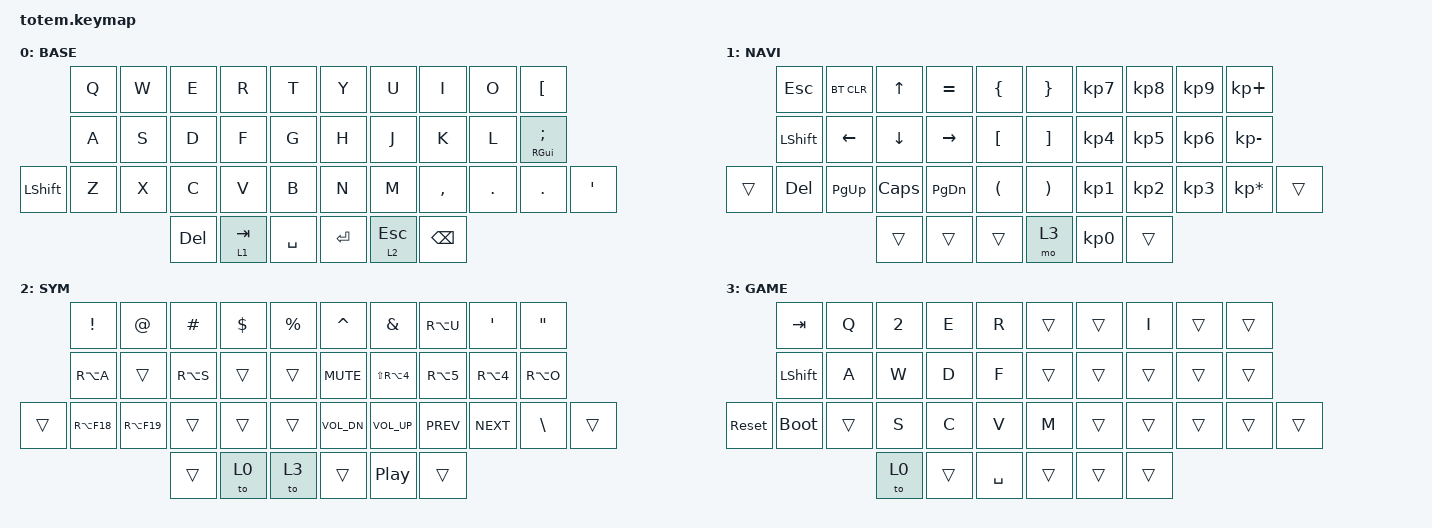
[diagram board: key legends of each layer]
//
//                                                        ▀▀▀▀▀     ▀▀▀▀▀          ▀▀█▀▀
//                                                        ▄▀▀▀▄  ▄  ▄▀▀▀▄  ▄  ▄▀▀▀▄  █  ▄▀▀▀▄
//                                                        █   █  █  █   █  █  █   █  █  █   █
//                                                         ▀▀▀   █   ▀▀▀   █   ▀▀▀   ▀   ▀▀▀
//                                                               █      ▄▄▄█▄▄▄    █   █  
//                                                               ▀      █  █  █     █▄█
//                                                             ▀▀▀▀▀    █  █  █      ▀
//                                                                      ▀  ▀  ▀
//
// ▄▄▄▄▄▄▄▄▄▄▄▄▄▄▄▄▄▄▄▄▄▄▄▄▄▄▄▄▄▄▄▄▄▄▄▄▄▄▄▄▄▄▄▄▄▄▄▄▄▄▄▄▄▄▄▄▄▄▄▄▄▄▄▄▄▄▄▄▄▄▄▄▄▄▄▄▄▄▄▄▄▄▄▄▄▄▄▄▄▄▄▄▄▄▄▄▄▄▄▄▄▄▄▄▄▄▄▄▄▄▄▄▄▄▄▄▄▄▄▄▄▄▄▄▄▄▄▄▄▄▄▄▄▄▄▄▄▄▄▄▄▄▄▄▄▄▄▄▄

#include <behaviors.dtsi>
#include <dt-bindings/zmk/bt.h>
#include <dt-bindings/zmk/keys.h>

#define BASE 0
#define NAV  1
#define SYM  2
#define ADJ  3
#define TVP1 4
#define TVP2 5

&mt {
    quick-tap-ms = <100>;
    global-quick-tap;
    flavor = "tap-preferred";
    tapping-term-ms = <170>;
};

/ {
    combos {
        compatible = "zmk,combos";

        combo_esc {
            timeout-ms = <50>;
            key-positions = <0 1>;
            bindings = <&kp ESC>;
        };

        combo_tvp {
            timeout-ms = <100>;
            key-positions = <11 12 13>;
            bindings = <&tog 0>;
        };
    };

    macros {
        gif: gif {
            label = "giphy";
            compatible = "zmk,behavior-macro";
            #binding-cells = <0>;
            bindings =
                <&macro_press>,
                <&kp LSHFT>,
                <&macro_tap>,
                <&kp N2>,
                <&macro_release>,
                <&kp LSHFT>,
                <&macro_tap>,
                <&kp G &kp I &kp F>;
        };
    };

    keymap {
        compatible = "zmk,keymap";

        // ▄▄▄▄▄▄▄▄▄▄▄▄▄▄▄▄▄▄▄▄▄▄▄▄▄▄▄▄▄▄▄▄▄▄▄▄▄▄▄▄▄▄▄▄▄▄▄▄▄▄▄▄▄▄▄▄▄▄▄▄▄▄▄▄▄▄▄▄▄▄▄▄▄▄▄▄▄▄▄▄▄▄▄▄▄▄▄▄▄▄▄▄▄▄▄▄▄▄▄▄▄▄▄▄▄▄▄▄▄▄▄▄▄▄▄▄▄▄▄▄▄▄▄▄▄▄▄▄▄▄▄▄▄▄▄▄▄▄▄▄▄▄▄▄▄▄▄▄▄

        BASE_LAYER {
            // ┏━━━━━━━━━━━━━━━━━━━━━━━━━━━━━━━━━━━━━━━┓

            label = "BASE";

            // ┗━━━━━━━━━━━━━━━━━━━━━━━━━━━━━━━━━━━━━━━┛
            //             ┏━━━━━━━━━━━┳━━━━━━━━━━━┳━━━━━━━━━━━┳━━━━━━━━━━━┳━━━━━━━━━━━┓   ┏━━━━━━━━━━━┳━━━━━━━━━━━┳━━━━━━━━━━━┳━━━━━━━━━━━┳━━━━━━━━━━━┓
            //             ┃     Q     ┃     W     ┃     F     ┃     P     ┃     G     ┃   ┃     J     ┃     L     ┃     U     ┃     Y     ┃     ;     ┃
            //             ┣━━━━━━━━━━━╋━━━━━━━━━━━╋━━━━━━━━━━━╋━━━━━━━━━━━╋━━━━━━━━━━━┫   ┣━━━━━━━━━━━╋━━━━━━━━━━━╋━━━━━━━━━━━╋━━━━━━━━━━━╋━━━━━━━━━━━┫
            //             ┃     A     ┃     R     ┃     S     ┃     T     ┃     D     ┃   ┃     H     ┃     N     ┃     E     ┃     I     ┃     O     ┃
            // ┏━━━━━━━━━━━╋━━━━━━━━━━━╋━━━━━━━━━━━╋━━━━━━━━━━━╋━━━━━━━━━━━╋━━━━━━━━━━━┫   ┣━━━━━━━━━━━╋━━━━━━━━━━━╋━━━━━━━━━━━╋━━━━━━━━━━━╋━━━━━━━━━━━╋━━━━━━━━━━━┓
            // ┃     Q     ┃     Z     ┃     X     ┃     C     ┃     V     ┃     B     ┃   ┃     K     ┃     M     ┃     ,     ┃     .     ┃     /     ┃     \     ┃
            // ┗━━━━━━━━━━━┻━━━━━━━━━━━┻━━━━━━━━━━━╋━━━━━━━━━━━╋━━━━━━━━━━━╋━━━━━━━━━━━┫   ┣━━━━━━━━━━━╋━━━━━━━━━━━╋━━━━━━━━━━━╋━━━━━━━━━━━┻━━━━━━━━━━━┻━━━━━━━━━━━┛
            //                                     ┃    DEL    ┃    TAB    ┃    SPC    ┃   ┃   ENTER   ┃           ┃   BSPC    ┃
            //                                     ┗━━━━━━━━━━━┻━━━━━━━━━━━┻━━━━━━━━━━━┛   ┗━━━━━━━━━━━┻━━━━━━━━━━━┻━━━━━━━━━━━┛

            bindings = <
                &kp Q  &kp W  &kp E    &kp R      &kp T        &kp Y    &kp U      &kp I      &kp O    &kp LEFT_BRACKET
                &kp A  &kp S  &kp D    &kp F      &kp G        &kp H    &kp J      &kp K      &kp L    &mt RGUI SEMICOLON
&kp LEFT_SHIFT  &kp Z  &kp X  &kp C    &kp V      &kp B        &kp N    &kp M      &kp COMMA  &kp DOT  &kp PERIOD          &kp SQT
                              &kp DEL  &lt 1 TAB  &kp SPACE    &kp RET  &lt 2 ESC  &kp BSPC
            >;
        };

        // ▄▄▄▄▄▄▄▄▄▄▄▄▄▄▄▄▄▄▄▄▄▄▄▄▄▄▄▄▄▄▄▄▄▄▄▄▄▄▄▄▄▄▄▄▄▄▄▄▄▄▄▄▄▄▄▄▄▄▄▄▄▄▄▄▄▄▄▄▄▄▄▄▄▄▄▄▄▄▄▄▄▄▄▄▄▄▄▄▄▄▄▄▄▄▄▄▄▄▄▄▄▄▄▄▄▄▄▄▄▄▄▄▄▄▄▄▄▄▄▄▄▄▄▄▄▄▄▄▄▄▄▄▄▄▄▄▄▄▄▄▄▄▄▄▄▄▄▄▄

        ONE_LAYER {
            // ┏━━━━━━━━━━━━━━━━━━━━━━━━━━━━━━━━━━━━━━━┓

            label = "NAVI";

            // ┗━━━━━━━━━━━━━━━━━━━━━━━━━━━━━━━━━━━━━━━┛
            //             ┏━━━━━━━━━━━┳━━━━━━━━━━━┳━━━━━━━━━━━┳━━━━━━━━━━━┳━━━━━━━━━━━┓   ┏━━━━━━━━━━━┳━━━━━━━━━━━┳━━━━━━━━━━━┳━━━━━━━━━━━┳━━━━━━━━━━━┓
            //             ┃           ┃           ┃     UP    ┃           ┃     {     ┃   ┃     }     ┃     7     ┃     8     ┃     9     ┃     +     ┃
            //             ┣━━━━━━━━━━━╋━━━━━━━━━━━╋━━━━━━━━━━━╋━━━━━━━━━━━╋━━━━━━━━━━━┫   ┣━━━━━━━━━━━╋━━━━━━━━━━━╋━━━━━━━━━━━╋━━━━━━━━━━━╋━━━━━━━━━━━┫
            //             ┃   SHIFT   ┃   LEFT    ┃    DOWN   ┃   RIGHT   ┃     [     ┃   ┃     ]     ┃     4     ┃     5     ┃     6     ┃     -     ┃
            // ┏━━━━━━━━━━━╋━━━━━━━━━━━╋━━━━━━━━━━━╋━━━━━━━━━━━╋━━━━━━━━━━━╋━━━━━━━━━━━┫   ┣━━━━━━━━━━━╋━━━━━━━━━━━╋━━━━━━━━━━━╋━━━━━━━━━━━╋━━━━━━━━━━━╋━━━━━━━━━━━┓
            // ┃           ┃           ┃   P UP    ┃  C LOCK   ┃  P DOWN   ┃     (     ┃   ┃     )     ┃     1     ┃     2     ┃     3     ┃     *     ┃           ┃
            // ┗━━━━━━━━━━━┻━━━━━━━━━━━┻━━━━━━━━━━━╋━━━━━━━━━━━╋━━━━━━━━━━━╋━━━━━━━━━━━┫   ┣━━━━━━━━━━━╋━━━━━━━━━━━╋━━━━━━━━━━━╋━━━━━━━━━━━┻━━━━━━━━━━━┻━━━━━━━━━━━┛
            //                                     ┃           ┃    TAB    ┃    SPC    ┃   ┃    DEL    ┃     0     ┃           ┃
            //                                     ┗━━━━━━━━━━━┻━━━━━━━━━━━┻━━━━━━━━━━━┛   ┗━━━━━━━━━━━┻━━━━━━━━━━━┻━━━━━━━━━━━┛

            bindings = <
        &kp ESC    &bt BT_CLR  &kp UP    &kp EQUAL  &kp LBRC    &kp RBRC  &kp KP_N7  &kp KP_N8  &kp KP_N9  &kp KP_PLUS
        &kp LSHFT  &kp LEFT    &kp DOWN  &kp RIGHT  &kp LBKT    &kp RBKT  &kp KP_N4  &kp KP_N5  &kp KP_N6  &kp KP_MINUS
&trans  &kp DEL    &kp PG_UP   &kp CAPS  &kp PG_DN  &kp LPAR    &kp RPAR  &kp KP_N1  &kp KP_N2  &kp KP_N3  &kp KP_MULTIPLY  &trans
                               &trans    &trans     &trans      &mo 3     &kp KP_N0  &trans
            >;
        };

        // ▄▄▄▄▄▄▄▄▄▄▄▄▄▄▄▄▄▄▄▄▄▄▄▄▄▄▄▄▄▄▄▄▄▄▄▄▄▄▄▄▄▄▄▄▄▄▄▄▄▄▄▄▄▄▄▄▄▄▄▄▄▄▄▄▄▄▄▄▄▄▄▄▄▄▄▄▄▄▄▄▄▄▄▄▄▄▄▄▄▄▄▄▄▄▄▄▄▄▄▄▄▄▄▄▄▄▄▄▄▄▄▄▄▄▄▄▄▄▄▄▄▄▄▄▄▄▄▄▄▄▄▄▄▄▄▄▄▄▄▄▄▄▄▄▄▄▄▄▄

        TWO_LAYER {
            // ┏━━━━━━━━━━━━━━━━━━━━━━━━━━━━━━━━━━━━━━━┓

            label = "SYM";

            // ┗━━━━━━━━━━━━━━━━━━━━━━━━━━━━━━━━━━━━━━━┛
            //             ┏━━━━━━━━━━━┳━━━━━━━━━━━┳━━━━━━━━━━━┳━━━━━━━━━━━┳━━━━━━━━━━━┓   ┏━━━━━━━━━━━┳━━━━━━━━━━━┳━━━━━━━━━━━┳━━━━━━━━━━━┳━━━━━━━━━━━┓
            //             ┃     !     ┃     @     ┃     #     ┃     $     ┃     %     ┃   ┃     ˆ     ┃     &     ┃     Ü     ┃     '     ┃     "     ┃
            //             ┣━━━━━━━━━━━╋━━━━━━━━━━━╋━━━━━━━━━━━╋━━━━━━━━━━━╋━━━━━━━━━━━┫   ┣━━━━━━━━━━━╋━━━━━━━━━━━╋━━━━━━━━━━━╋━━━━━━━━━━━╋━━━━━━━━━━━┫
            //             ┃     Ä     ┃           ┃    SZ     ┃           ┃           ┃   ┃   MUTE    ┃   YEN     ┃   EURO    ┃  POUND    ┃     Ö     ┃
            // ┏━━━━━━━━━━━╋━━━━━━━━━━━╋━━━━━━━━━━━╋━━━━━━━━━━━╋━━━━━━━━━━━╋━━━━━━━━━━━┫   ┣━━━━━━━━━━━╋━━━━━━━━━━━╋━━━━━━━━━━━╋━━━━━━━━━━━╋━━━━━━━━━━━╋━━━━━━━━━━━┓
            // ┃           ┃  EMAIL1   ┃  EMAIL2   ┃           ┃           ┃           ┃   ┃   VOL-    ┃   VOL+    ┃   LAST    ┃   NEXT    ┃     \     ┃           ┃
            // ┗━━━━━━━━━━━┻━━━━━━━━━━━┻━━━━━━━━━━━╋━━━━━━━━━━━╋━━━━━━━━━━━╋━━━━━━━━━━━┫   ┣━━━━━━━━━━━╋━━━━━━━━━━━╋━━━━━━━━━━━╋━━━━━━━━━━━┻━━━━━━━━━━━┻━━━━━━━━━━━┛
            //                                     ┃           ┃    GIF    ┃    ADJ    ┃   ┃           ┃           ┃           ┃
            //                                     ┗━━━━━━━━━━━┻━━━━━━━━━━━┻━━━━━━━━━━━┛   ┗━━━━━━━━━━━┻━━━━━━━━━━━┻━━━━━━━━━━━┛

            bindings = <
        &kp EXCL     &kp AT       &kp HASH   &kp DLLR  &kp PRCNT    &kp CARET     &kp AMPS        &kp RA(U)   &kp SQT     &kp DQT
        &kp RA(A)    &trans       &kp RA(S)  &trans    &trans       &kp C_MUTE    &kp LS(RA(N4))  &kp RA(N5)  &kp RA(N4)  &kp RA(O)
&trans  &kp RA(F18)  &kp RA(F19)  &trans     &trans    &trans       &kp C_VOL_DN  &kp C_VOL_UP    &kp C_PREV  &kp C_NEXT  &kp BSLH   &trans
                                  &trans     &to 0     &to 3        &trans        &kp C_PP        &trans
            >;
        };

        // ▄▄▄▄▄▄▄▄▄▄▄▄▄▄▄▄▄▄▄▄▄▄▄▄▄▄▄▄▄▄▄▄▄▄▄▄▄▄▄▄▄▄▄▄▄▄▄▄▄▄▄▄▄▄▄▄▄▄▄▄▄▄▄▄▄▄▄▄▄▄▄▄▄▄▄▄▄▄▄▄▄▄▄▄▄▄▄▄▄▄▄▄▄▄▄▄▄▄▄▄▄▄▄▄▄▄▄▄▄▄▄▄▄▄▄▄▄▄▄▄▄▄▄▄▄▄▄▄▄▄▄▄▄▄▄▄▄▄▄▄▄▄▄▄▄▄▄▄▄

        GAME_LAYER {
            // ┏━━━━━━━━━━━━━━━━━━━━━━━━━━━━━━━━━━━━━━━┓

            label = "GAME";

            // ┗━━━━━━━━━━━━━━━━━━━━━━━━━━━━━━━━━━━━━━━┛
            //             ┏━━━━━━━━━━━┳━━━━━━━━━━━┳━━━━━━━━━━━┳━━━━━━━━━━━┳━━━━━━━━━━━┓   ┏━━━━━━━━━━━┳━━━━━━━━━━━┳━━━━━━━━━━━┳━━━━━━━━━━━┳━━━━━━━━━━━┓
            //             ┃   RESET   ┃ BT CLEAR  ┃  OUT TOG  ┃           ┃           ┃   ┃           ┃    F7     ┃    F8     ┃    F9     ┃    F12    ┃
            //             ┣━━━━━━━━━━━╋━━━━━━━━━━━╋━━━━━━━━━━━╋━━━━━━━━━━━╋━━━━━━━━━━━┫   ┣━━━━━━━━━━━╋━━━━━━━━━━━╋━━━━━━━━━━━╋━━━━━━━━━━━╋━━━━━━━━━━━┫
            //             ┃ BOOTLOAD  ┃ BT NEXT   ┃           ┃           ┃           ┃   ┃           ┃    F4     ┃    F5     ┃    F6     ┃    F11    ┃
            // ┏━━━━━━━━━━━╋━━━━━━━━━━━╋━━━━━━━━━━━╋━━━━━━━━━━━╋━━━━━━━━━━━╋━━━━━━━━━━━┫   ┣━━━━━━━━━━━╋━━━━━━━━━━━╋━━━━━━━━━━━╋━━━━━━━━━━━╋━━━━━━━━━━━╋━━━━━━━━━━━┓
            // ┃           ┃           ┃ BT PREV   ┃           ┃           ┃           ┃   ┃           ┃    F1     ┃    F2     ┃    F3     ┃    F10    ┃           ┃
            // ┗━━━━━━━━━━━┻━━━━━━━━━━━┻━━━━━━━━━━━╋━━━━━━━━━━━╋━━━━━━━━━━━╋━━━━━━━━━━━┫   ┣━━━━━━━━━━━╋━━━━━━━━━━━╋━━━━━━━━━━━╋━━━━━━━━━━━┻━━━━━━━━━━━┻━━━━━━━━━━━┛
            //                                     ┃           ┃           ┃           ┃   ┃           ┃           ┃           ┃
            //                                     ┗━━━━━━━━━━━┻━━━━━━━━━━━┻━━━━━━━━━━━┛   ┗━━━━━━━━━━━┻━━━━━━━━━━━┻━━━━━━━━━━━┛

            bindings = <
            &kp TAB         &kp Q   &kp NUMBER_2  &kp E   &kp R        &trans  &trans  &kp I   &trans  &trans
            &kp LEFT_SHIFT  &kp A   &kp W         &kp D   &kp F        &trans  &trans  &trans  &trans  &trans
&sys_reset  &bootloader     &trans  &kp S         &kp C   &kp V        &kp M   &trans  &trans  &trans  &trans  &trans
                                    &to 0         &trans  &kp SPACE    &trans  &trans  &trans
            >;
        };

        // ▄▄▄▄▄▄▄▄▄▄▄▄▄▄▄▄▄▄▄▄▄▄▄▄▄▄▄▄▄▄▄▄▄▄▄▄▄▄▄▄▄▄▄▄▄▄▄▄▄▄▄▄▄▄▄▄▄▄▄▄▄▄▄▄▄▄▄▄▄▄▄▄▄▄▄▄▄▄▄▄▄▄▄▄▄▄▄▄▄▄▄▄▄▄▄▄▄▄▄▄▄▄▄▄▄▄▄▄▄▄▄▄▄▄▄▄▄▄▄▄▄▄▄▄▄▄▄▄▄▄▄▄▄▄▄▄▄▄▄▄▄▄▄▄▄▄▄▄▄
        // ▄▄▄▄▄▄▄▄▄▄▄▄▄▄▄▄▄▄▄▄▄▄▄▄▄▄▄▄▄▄▄▄▄▄▄▄▄▄▄▄▄▄▄▄▄▄▄▄▄▄▄▄▄▄▄▄▄▄▄▄▄▄▄▄▄▄▄▄▄▄▄▄▄▄▄▄▄▄▄▄▄▄▄▄▄▄▄▄▄▄▄▄▄▄▄▄▄▄▄▄▄▄▄▄▄▄▄▄▄▄▄▄▄▄▄▄▄▄▄▄▄▄▄▄▄▄▄▄▄▄▄▄▄▄▄▄▄▄▄▄▄▄▄▄▄▄▄▄▄
    };
};
